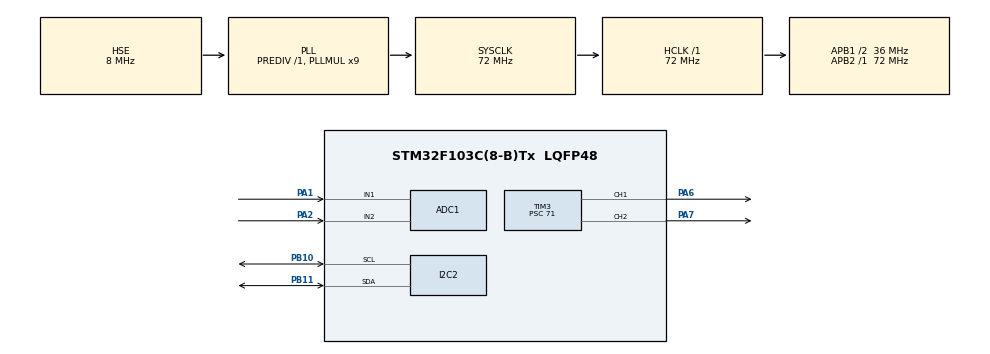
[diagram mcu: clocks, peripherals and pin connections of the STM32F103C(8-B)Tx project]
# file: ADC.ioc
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ADC1.Channel-2\#ChannelRegularConversion=ADC_CHANNEL_1
ADC1.Channel-3\#ChannelRegularConversion=ADC_CHANNEL_2
ADC1.ContinuousConvMode=ENABLE
ADC1.NbrOfConversion=2
ADC1.NbrOfConversionFlag=1
ADC1.Rank-2\#ChannelRegularConversion=1
ADC1.Rank-3\#ChannelRegularConversion=2
ADC1.SamplingTime-2\#ChannelRegularConversion=ADC_SAMPLETIME_239CYCLES_5
ADC1.SamplingTime-3\#ChannelRegularConversion=ADC_SAMPLETIME_239CYCLES_5
ADC1.master=1
Dma.ADC1.0.Direction=DMA_PERIPH_TO_MEMORY
Dma.ADC1.0.Instance=DMA1_Channel1
Dma.ADC1.0.MemDataAlignment=DMA_MDATAALIGN_HALFWORD
Dma.ADC1.0.MemInc=DMA_MINC_ENABLE
Dma.ADC1.0.Mode=DMA_CIRCULAR
Dma.ADC1.0.PeriphDataAlignment=DMA_PDATAALIGN_HALFWORD
Dma.ADC1.0.PeriphInc=DMA_PINC_DISABLE
Dma.ADC1.0.Priority=DMA_PRIORITY_LOW
Dma.Request0=ADC1
Mcu.Family=STM32F1
Mcu.Name=STM32F103C(8-B)Tx
Mcu.Package=LQFP48
NVIC.DMA1_Channel1_IRQn=true\:0\:0\:false\:false\:true\:false\:true\:true
NVIC.PriorityGroup=NVIC_PRIORITYGROUP_4
PA1.Signal=ADCx_IN1
PA13.Mode=Serial_Wire
PA13.Signal=SYS_JTMS-SWDIO
PA14.Mode=Serial_Wire
PA14.Signal=SYS_JTCK-SWCLK
PA2.Signal=ADCx_IN2
PA6.Signal=S_TIM3_CH1
PA7.Signal=S_TIM3_CH2
PB10.Mode=I2C
PB10.Signal=I2C2_SCL
PB11.Mode=I2C
PB11.Signal=I2C2_SDA
PD0-OSC_IN.Mode=HSE-External-Oscillator
PD0-OSC_IN.Signal=RCC_OSC_IN
PD1-OSC_OUT.Mode=HSE-External-Oscillator
PD1-OSC_OUT.Signal=RCC_OSC_OUT
ProjectManager.HeapSize=0x200
ProjectManager.StackSize=0x400
ProjectManager.TargetToolchain=STM32CubeIDE
RCC.ADCPresc=RCC_ADCPCLK2_DIV6
RCC.AHBFreq_Value=72000000
RCC.APB1CLKDivider=RCC_HCLK_DIV2
RCC.APB1Freq_Value=36000000
RCC.APB1TimFreq_Value=72000000
RCC.APB2Freq_Value=72000000
RCC.APB2TimFreq_Value=72000000
RCC.HCLKFreq_Value=72000000
RCC.PLLMUL=RCC_PLL_MUL9
RCC.PLLSourceVirtual=RCC_PLLSOURCE_HSE
RCC.SYSCLKFreq_VALUE=72000000
RCC.SYSCLKSource=RCC_SYSCLKSOURCE_PLLCLK
RCC.USBFreq_Value=72000000
SH.ADCx_IN1.0=ADC1_IN1,IN1
SH.ADCx_IN2.0=ADC1_IN2,IN2
SH.S_TIM3_CH1.0=TIM3_CH1,PWM Generation1 CH1
SH.S_TIM3_CH2.0=TIM3_CH2,PWM Generation2 CH2
TIM3.Channel-PWM\ Generation1\ CH1=TIM_CHANNEL_1
TIM3.Channel-PWM\ Generation2\ CH2=TIM_CHANNEL_2
TIM3.Period=4095
TIM3.Prescaler=71
VP_TIM3_VS_ClockSourceINT.Mode=Internal
board=custom

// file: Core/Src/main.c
/* USER CODE BEGIN Header */
/**
 ******************************************************************************
 * @file           : main.c
 * @brief          : Main program body
 ******************************************************************************
 * @attention
 *
 * Copyright (c) 2026 STMicroelectronics.
 * All rights reserved.
 *
 * This software is licensed under terms that can be found in the LICENSE file
 * in the root directory of this software component.
 * If no LICENSE file comes with this software, it is provided AS-IS.
 *
 ******************************************************************************
 */
/* USER CODE END Header */
#include "main.h"

/* USER CODE BEGIN Includes */
#include <stdio.h>
#include "ssd1306.h"
#include "ssd1306_fonts.h"
/* USER CODE END Includes */

ADC_HandleTypeDef hadc1;
DMA_HandleTypeDef hdma_adc1;

I2C_HandleTypeDef hi2c2;

TIM_HandleTypeDef htim3;

/* USER CODE BEGIN PV */
volatile uint16_t adc_value[2] = { 0, 0 };
float voltage[2];

uint32_t last_display_time = 0;
char str_buf[32];

/* USER CODE END PV */

void SystemClock_Config(void);
static void MX_GPIO_Init(void);
static void MX_DMA_Init(void);
static void MX_ADC1_Init(void);
static void MX_TIM3_Init(void);
static void MX_I2C2_Init(void);

int main(void) {

	/* MCU Configuration--------------------------------------------------------*/

	/* Reset of all peripherals, Initializes the Flash interface and the Systick. */
	HAL_Init();

	/* Configure the system clock */
	SystemClock_Config();

	/* Initialize all configured peripherals */
	MX_GPIO_Init();
	MX_DMA_Init();
	MX_ADC1_Init();
	MX_TIM3_Init();
	MX_I2C2_Init();
	/* USER CODE BEGIN 2 */
	HAL_ADCEx_Calibration_Start(&hadc1);
	HAL_ADC_Start_DMA(&hadc1, (uint32_t*) adc_value, 2);

	HAL_TIM_PWM_Start(&htim3, TIM_CHANNEL_1);
	HAL_TIM_PWM_Start(&htim3, TIM_CHANNEL_2);
	ssd1306_Init();
	/* USER CODE END 2 */

	/* Infinite loop */
	while (1) {

		/* USER CODE BEGIN 3 */
		if (HAL_GetTick() - last_display_time >= 100) {
			last_display_time = HAL_GetTick();

			voltage[0] = (adc_value[0] * 3.3f) / 4095.0f;
			voltage[1] = (adc_value[1] * 3.3f) / 4095.0f;

			ssd1306_Fill(Black);

			snprintf(str_buf, sizeof(str_buf), "CH1: %.2f V", voltage[0]);
			ssd1306_SetCursor(0, 0);
			ssd1306_WriteString(str_buf, Font_11x18, White);

			snprintf(str_buf, sizeof(str_buf), "CH2: %.2f V", voltage[1]);
			ssd1306_SetCursor(0, 26);
			ssd1306_WriteString(str_buf, Font_11x18, White);

			ssd1306_UpdateScreen();
		}
		__HAL_TIM_SET_COMPARE(&htim3, TIM_CHANNEL_1, adc_value[0]);
		__HAL_TIM_SET_COMPARE(&htim3, TIM_CHANNEL_2, adc_value[1]);

	}
	/* USER CODE END 3 */
}

void SystemClock_Config(void) {
	RCC_OscInitTypeDef RCC_OscInitStruct = { 0 };
	RCC_ClkInitTypeDef RCC_ClkInitStruct = { 0 };
	RCC_PeriphCLKInitTypeDef PeriphClkInit = { 0 };

	/** Initializes the RCC Oscillators according to the specified parameters
	 * in the RCC_OscInitTypeDef structure.
	 */
	RCC_OscInitStruct.OscillatorType = RCC_OSCILLATORTYPE_HSE;
	RCC_OscInitStruct.HSEState = RCC_HSE_ON;
	RCC_OscInitStruct.HSEPredivValue = RCC_HSE_PREDIV_DIV1;
	RCC_OscInitStruct.HSIState = RCC_HSI_ON;
	RCC_OscInitStruct.PLL.PLLState = RCC_PLL_ON;
	RCC_OscInitStruct.PLL.PLLSource = RCC_PLLSOURCE_HSE;
	RCC_OscInitStruct.PLL.PLLMUL = RCC_PLL_MUL9;
	if (HAL_RCC_OscConfig(&RCC_OscInitStruct) != HAL_OK) {
		Error_Handler();
	}

	/** Initializes the CPU, AHB and APB buses clocks
	 */
	RCC_ClkInitStruct.ClockType = RCC_CLOCKTYPE_HCLK | RCC_CLOCKTYPE_SYSCLK
			| RCC_CLOCKTYPE_PCLK1 | RCC_CLOCKTYPE_PCLK2;
	RCC_ClkInitStruct.SYSCLKSource = RCC_SYSCLKSOURCE_PLLCLK;
	RCC_ClkInitStruct.AHBCLKDivider = RCC_SYSCLK_DIV1;
	RCC_ClkInitStruct.APB1CLKDivider = RCC_HCLK_DIV2;
	RCC_ClkInitStruct.APB2CLKDivider = RCC_HCLK_DIV1;

	if (HAL_RCC_ClockConfig(&RCC_ClkInitStruct, FLASH_LATENCY_2) != HAL_OK) {
		Error_Handler();
	}
	PeriphClkInit.PeriphClockSelection = RCC_PERIPHCLK_ADC;
	PeriphClkInit.AdcClockSelection = RCC_ADCPCLK2_DIV6;
	if (HAL_RCCEx_PeriphCLKConfig(&PeriphClkInit) != HAL_OK) {
		Error_Handler();
	}
}

static void MX_ADC1_Init(void) {

	ADC_ChannelConfTypeDef sConfig = { 0 };

	/** Common config
	 */
	hadc1.Instance = ADC1;
	hadc1.Init.ScanConvMode = ADC_SCAN_ENABLE;
	hadc1.Init.ContinuousConvMode = ENABLE;
	hadc1.Init.DiscontinuousConvMode = DISABLE;
	hadc1.Init.ExternalTrigConv = ADC_SOFTWARE_START;
	hadc1.Init.DataAlign = ADC_DATAALIGN_RIGHT;
	hadc1.Init.NbrOfConversion = 2;
	if (HAL_ADC_Init(&hadc1) != HAL_OK) {
		Error_Handler();
	}

	/** Configure Regular Channel
	 */
	sConfig.Channel = ADC_CHANNEL_1;
	sConfig.Rank = ADC_REGULAR_RANK_1;
	sConfig.SamplingTime = ADC_SAMPLETIME_239CYCLES_5;
	if (HAL_ADC_ConfigChannel(&hadc1, &sConfig) != HAL_OK) {
		Error_Handler();
	}

	/** Configure Regular Channel
	 */
	sConfig.Channel = ADC_CHANNEL_2;
	sConfig.Rank = ADC_REGULAR_RANK_2;
	if (HAL_ADC_ConfigChannel(&hadc1, &sConfig) != HAL_OK) {
		Error_Handler();
	}

}

static void MX_I2C2_Init(void) {

	hi2c2.Instance = I2C2;
	hi2c2.Init.ClockSpeed = 100000;
	hi2c2.Init.DutyCycle = I2C_DUTYCYCLE_2;
	hi2c2.Init.OwnAddress1 = 0;
	hi2c2.Init.AddressingMode = I2C_ADDRESSINGMODE_7BIT;
	hi2c2.Init.DualAddressMode = I2C_DUALADDRESS_DISABLE;
	hi2c2.Init.OwnAddress2 = 0;
	hi2c2.Init.GeneralCallMode = I2C_GENERALCALL_DISABLE;
	hi2c2.Init.NoStretchMode = I2C_NOSTRETCH_DISABLE;
	if (HAL_I2C_Init(&hi2c2) != HAL_OK) {
		Error_Handler();
	}

}

static void MX_TIM3_Init(void) {

	TIM_ClockConfigTypeDef sClockSourceConfig = { 0 };
	TIM_MasterConfigTypeDef sMasterConfig = { 0 };
	TIM_OC_InitTypeDef sConfigOC = { 0 };

	htim3.Instance = TIM3;
	htim3.Init.Prescaler = 71;
	htim3.Init.CounterMode = TIM_COUNTERMODE_UP;
	htim3.Init.Period = 4095;
	htim3.Init.ClockDivision = TIM_CLOCKDIVISION_DIV1;
	htim3.Init.AutoReloadPreload = TIM_AUTORELOAD_PRELOAD_DISABLE;
	if (HAL_TIM_Base_Init(&htim3) != HAL_OK) {
		Error_Handler();
	}
	sClockSourceConfig.ClockSource = TIM_CLOCKSOURCE_INTERNAL;
	if (HAL_TIM_ConfigClockSource(&htim3, &sClockSourceConfig) != HAL_OK) {
		Error_Handler();
	}
	if (HAL_TIM_PWM_Init(&htim3) != HAL_OK) {
		Error_Handler();
	}
	sMasterConfig.MasterOutputTrigger = TIM_TRGO_RESET;
	sMasterConfig.MasterSlaveMode = TIM_MASTERSLAVEMODE_DISABLE;
	if (HAL_TIMEx_MasterConfigSynchronization(&htim3, &sMasterConfig)
			!= HAL_OK) {
		Error_Handler();
	}
	sConfigOC.OCMode = TIM_OCMODE_PWM1;
	sConfigOC.Pulse = 0;
	sConfigOC.OCPolarity = TIM_OCPOLARITY_HIGH;
	sConfigOC.OCFastMode = TIM_OCFAST_DISABLE;
	if (HAL_TIM_PWM_ConfigChannel(&htim3, &sConfigOC, TIM_CHANNEL_1)
			!= HAL_OK) {
		Error_Handler();
	}
	if (HAL_TIM_PWM_ConfigChannel(&htim3, &sConfigOC, TIM_CHANNEL_2)
			!= HAL_OK) {
		Error_Handler();
	}
	HAL_TIM_MspPostInit(&htim3);

}

static void MX_DMA_Init(void) {

	/* DMA controller clock enable */
	__HAL_RCC_DMA1_CLK_ENABLE();

	/* DMA interrupt init */
	/* DMA1_Channel1_IRQn interrupt configuration */
	HAL_NVIC_SetPriority(DMA1_Channel1_IRQn, 0, 0);
	HAL_NVIC_EnableIRQ(DMA1_Channel1_IRQn);

}

static void MX_GPIO_Init(void) {

	/* GPIO Ports Clock Enable */
	__HAL_RCC_GPIOD_CLK_ENABLE();
	__HAL_RCC_GPIOA_CLK_ENABLE();
	__HAL_RCC_GPIOB_CLK_ENABLE();

}

void Error_Handler(void) {
	__disable_irq();
	while (1) {
	}
}
